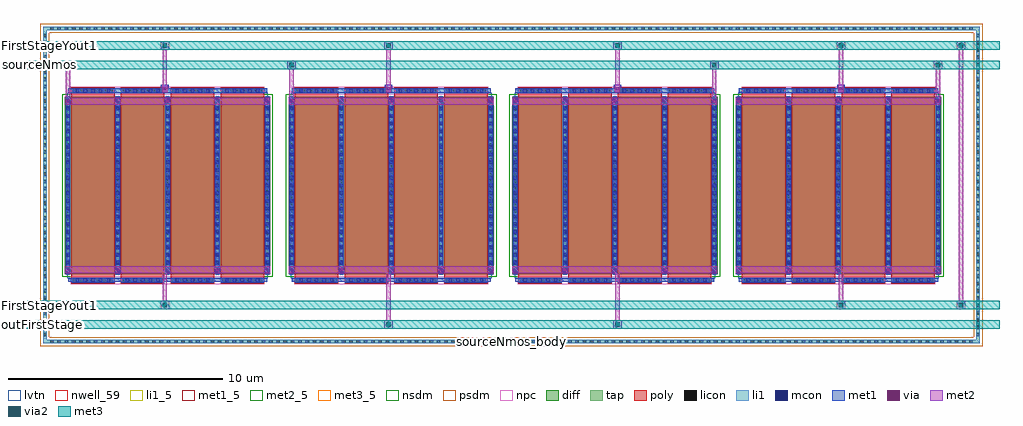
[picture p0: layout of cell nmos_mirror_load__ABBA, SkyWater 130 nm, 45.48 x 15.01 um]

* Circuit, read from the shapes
.subckt nmos_mirror_load__ABBA FirstStageYout1 outFirstStage sourceNmos sourceNmos_body
XM1 FirstStageYout1 FirstStageYout1 sourceNmos sourceNmos_body sky130_fd_pr__nfet_01v8_lvt w=8.27 l=2.03 m=8
XM2 outFirstStage FirstStageYout1 sourceNmos sourceNmos_body sky130_fd_pr__nfet_01v8_lvt w=8.27 l=2.03 m=8
.ends

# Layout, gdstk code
from math import pi, radians
import gdstk
lib = gdstk.Library(unit=1e-6, precision=1e-09)
def R(c, l, rs):  # rectangles x0, y0, x1, y1
    for r in rs: c.add(gdstk.rectangle(r[:2], r[2:], *l))
def A(c, l, x, y, w, h, nx, ny, dx, dy):  # array of equal rectangles
    R(c, l, [(x+i*dx, y+j*dy, x+i*dx+w, y+j*dy+h) for i in range(nx) for j in range(ny)])
nwell_59 = (64, 59)
diff = (65, 20)
tap = (65, 44)
poly = (66, 20)
licon = (66, 44)
li1_5 = (67, 5)
li1 = (67, 20)
mcon = (67, 44)
met1_5 = (68, 5)
met1 = (68, 20)
via = (68, 44)
met2_5 = (69, 5)
met2 = (69, 20)
via2 = (69, 44)
met3_5 = (70, 5)
met3 = (70, 20)
nsdm = (93, 44)
psdm = (94, 20)
npc = (95, 20)
lvtn = (125, 44)

sky130_fd_pr__nfet_01v8_ = lib.new_cell('sky130_fd_pr__nfet_01v8_lvt_A8LSYS')
R(sky130_fd_pr__nfet_01v8_, diff, [(-4.785,-4.135,4.785,4.135)])
A(sky130_fd_pr__nfet_01v8_, poly, -4.495, -4.575, 2.03, 9.15, 4, 1, 2.32, 0)
A(sky130_fd_pr__nfet_01v8_, licon, -4.415, -4.495, 0.17, 0.17, 6, 2, 0.34, 8.82)
A(sky130_fd_pr__nfet_01v8_, licon, -2.095, -4.495, 0.17, 0.17, 6, 2, 0.34, 8.82)
A(sky130_fd_pr__nfet_01v8_, licon, 0.225, -4.495, 0.17, 0.17, 6, 2, 0.34, 8.82)
A(sky130_fd_pr__nfet_01v8_, licon, 2.545, -4.495, 0.17, 0.17, 6, 2, 0.34, 8.82)
A(sky130_fd_pr__nfet_01v8_, licon, -4.725, -3.995, 0.17, 0.17, 5, 24, 2.32, 0.34)
A(sky130_fd_pr__nfet_01v8_, li1, -4.725, -4.155, 0.17, 8.31, 5, 1, 2.32, 0)
R(sky130_fd_pr__nfet_01v8_, li1, [(-4.64,-4.495,4.64,-4.325), (-4.64,4.325,4.64,4.495)])
A(sky130_fd_pr__nfet_01v8_, mcon, -4.285, -4.495, 0.17, 0.17, 5, 2, 0.36, 8.82)
A(sky130_fd_pr__nfet_01v8_, mcon, -1.965, -4.495, 0.17, 0.17, 5, 2, 0.36, 8.82)
A(sky130_fd_pr__nfet_01v8_, mcon, 0.355, -4.495, 0.17, 0.17, 5, 2, 0.36, 8.82)
A(sky130_fd_pr__nfet_01v8_, mcon, 2.675, -4.495, 0.17, 0.17, 5, 2, 0.36, 8.82)
A(sky130_fd_pr__nfet_01v8_, mcon, -4.725, -4.045, 0.17, 0.17, 5, 23, 2.32, 0.36)
A(sky130_fd_pr__nfet_01v8_, met1, -4.475, -4.525, 1.99, 0.03, 4, 2, 2.32, 0.2)
A(sky130_fd_pr__nfet_01v8_, met1, -4.755, -4.135, 0.23, 8.27, 5, 1, 2.32, 0)
A(sky130_fd_pr__nfet_01v8_, met1, -4.475, 4.295, 1.99, 0.03, 4, 2, 2.32, 0.2)
R(sky130_fd_pr__nfet_01v8_, met1, [(-4.64,-4.495,4.64,-4.325), (-4.64,4.325,4.64,4.495)])
R(sky130_fd_pr__nfet_01v8_, nsdm, [(-4.91,-4.26,4.91,4.26)])
R(sky130_fd_pr__nfet_01v8_, npc, [(-4.515,-4.595,4.515,-4.225), (-4.515,4.225,4.515,4.595)])
R(sky130_fd_pr__nfet_01v8_, lvtn, [(-4.675,-4.315,4.675,4.315)])
sky130_fd_pr__nfet_01v8_.add(gdstk.Label('D0', (-4.64,0), layer=67, texttype=5))
sky130_fd_pr__nfet_01v8_.add(gdstk.Label('G', (3.48,4.41), layer=67, texttype=5))
sky130_fd_pr__nfet_01v8_.add(gdstk.Label('G', (1.16,4.41), layer=67, texttype=5))
sky130_fd_pr__nfet_01v8_.add(gdstk.Label('G', (-1.16,4.41), layer=67, texttype=5))
sky130_fd_pr__nfet_01v8_.add(gdstk.Label('G', (-3.48,4.41), layer=67, texttype=5))
sky130_fd_pr__nfet_01v8_.add(gdstk.Label('S1', (-2.32,0), layer=67, texttype=5))
sky130_fd_pr__nfet_01v8_.add(gdstk.Label('D2', (0,0), layer=67, texttype=5))
sky130_fd_pr__nfet_01v8_.add(gdstk.Label('S3', (2.32,0), layer=67, texttype=5))

nfet_01v8_lvt_w33p065_l2 = lib.new_cell('nfet_01v8_lvt_W33p065_L2p03_m1__nf4_gboth_sdfull_outS_ng')
R(nfet_01v8_lvt_w33p065_l2, nwell_59, [(0.05,4.525,0.15,4.625)])
R(nfet_01v8_lvt_w33p065_l2, met1_5, [(0.145,8.87,9.425,9.1)])
A(nfet_01v8_lvt_w33p065_l2, met1, 0.015, 8.34, 0.26, 0.32, 3, 1, 4.64, 0)
R(nfet_01v8_lvt_w33p065_l2, met1, [(2.335,0.49,2.595,0.81), (6.975,0.49,7.235,0.81), (0.145,8.87,9.425,9.1)])
A(nfet_01v8_lvt_w33p065_l2, via, 0.07, 8.425, 0.15, 0.15, 3, 1, 4.64, 0)
R(nfet_01v8_lvt_w33p065_l2, via, [(2.39,0.575,2.54,0.725), (7.03,0.575,7.18,0.725)])
R(nfet_01v8_lvt_w33p065_l2, met2_5, [(0.01,0.49,9.56,0.81), (0.01,8.34,9.56,8.66)])
R(nfet_01v8_lvt_w33p065_l2, met2, [(0.01,0.49,9.56,0.81), (0.01,8.34,9.56,8.66)])
nfet_01v8_lvt_w33p065_l2.add(gdstk.Reference(sky130_fd_pr__nfet_01v8_, (4.785,4.575)))
nfet_01v8_lvt_w33p065_l2.add(gdstk.Label('S', (4.785,8.5), layer=69, texttype=5))
nfet_01v8_lvt_w33p065_l2.add(gdstk.Label('D', (4.785,0.65), layer=69, texttype=5))
nfet_01v8_lvt_w33p065_l2.add(gdstk.Label('G', (4.785,8.985), layer=68, texttype=5))
nfet_01v8_lvt_w33p065_l2.add(gdstk.Label('B', (0.1,4.575), layer=64, texttype=59))

nmos_mirror_load__abba = lib.new_cell('nmos_mirror_load__ABBA')
R(nmos_mirror_load__abba, tap, [(-0.885,-2.785,42.765,-2.615), (-0.885,-2.615,-0.715,11.805), (42.595,-2.615,42.765,11.805), (-0.885,11.805,42.765,11.975)])
A(nmos_mirror_load__abba, licon, -0.565, -2.785, 0.17, 0.17, 127, 2, 0.34, 14.59)
A(nmos_mirror_load__abba, licon, -0.885, -2.46, 0.17, 0.17, 1, 42, 0, 0.34)
A(nmos_mirror_load__abba, licon, 42.595, -2.46, 0.17, 0.17, 1, 42, 0, 0.34)
R(nmos_mirror_load__abba, li1_5, [(20.89,-2.75,20.99,-2.65)])
R(nmos_mirror_load__abba, li1, [(-0.885,-2.785,42.765,-2.615), (-0.885,-2.615,-0.715,11.805), (42.595,-2.615,42.765,11.805), (-0.885,11.805,42.765,11.975)])
R(nmos_mirror_load__abba, met1, [(4.605,8.9,4.965,9.26), (15.025,8.9,15.385,9.26), (25.695,8.9,26.055,9.26), (36.115,8.9,36.475,9.26)])
R(nmos_mirror_load__abba, via, [(4.71,9.005,4.86,9.155), (15.13,9.005,15.28,9.155), (25.8,9.005,25.95,9.155), (36.22,9.005,36.37,9.155)])
R(nmos_mirror_load__abba, met2, [(15.005,-2.1,15.405,-1.7), (25.675,-2.1,26.075,-1.7), (15.105,-1.7,15.305,0.59), (25.775,-1.7,25.975,0.59), (4.585,-1.2,4.985,-0.8), (36.095,-1.2,36.495,-0.8), (41.68,-1.2,42.08,-0.8), (4.685,-0.8,4.885,0.59), (36.195,-0.8,36.395,0.59), (41.78,-0.8,41.98,10.89), (0.17,8.56,0.37,9.99), (10.59,8.56,10.79,9.99), (30.29,8.56,30.49,9.99), (40.71,8.56,40.91,9.99), (4.655,8.92,4.915,9.24), (15.075,8.92,15.335,9.24), (25.745,8.92,26.005,9.24), (36.165,8.92,36.425,9.24), (4.685,9.24,4.885,10.89), (15.105,9.24,15.305,10.89), (25.775,9.24,25.975,10.89), (36.195,9.24,36.395,10.89), (0.07,9.99,0.47,10.39), (10.49,9.99,10.89,10.39), (30.19,9.99,30.59,10.39), (40.61,9.99,41.01,10.39), (4.585,10.89,4.985,11.29), (15.005,10.89,15.405,11.29), (25.675,10.89,26.075,11.29), (36.095,10.89,36.495,11.29), (41.68,10.89,42.08,11.29)])
R(nmos_mirror_load__abba, via2, [(15.105,-2,15.305,-1.8), (25.775,-2,25.975,-1.8), (4.685,-1.1,4.885,-0.9), (36.195,-1.1,36.395,-0.9), (41.78,-1.1,41.98,-0.9), (0.17,10.09,0.37,10.29), (10.59,10.09,10.79,10.29), (30.29,10.09,30.49,10.29), (40.71,10.09,40.91,10.29), (4.685,10.99,4.885,11.19), (15.105,10.99,15.305,11.19), (25.775,10.99,25.975,11.19), (36.195,10.99,36.395,11.19), (41.78,10.99,41.98,11.19)])
R(nmos_mirror_load__abba, met3_5, [(-1.7,-1.95,-1.6,-1.85), (-1.7,-1.05,-1.6,-0.95), (-1.7,10.14,-1.6,10.24), (-1.7,11.04,-1.6,11.14)])
R(nmos_mirror_load__abba, met3, [(-1.8,-2.1,43.68,-1.7), (-1.8,-1.2,43.68,-0.8), (-1.8,9.99,43.68,10.39), (-1.8,10.89,43.68,11.29)])
R(nmos_mirror_load__abba, psdm, [(-1.01,-2.91,42.89,-2.49), (-1.01,-2.49,-0.59,11.68), (42.47,-2.49,42.89,11.68), (-1.01,11.68,42.89,12.1)])
nmos_mirror_load__abba.add(gdstk.Reference(nfet_01v8_lvt_w33p065_l2, (40.96,0), rotation=pi, x_reflection=True))
nmos_mirror_load__abba.add(gdstk.Reference(nfet_01v8_lvt_w33p065_l2, (30.54,0), rotation=pi, x_reflection=True))
nmos_mirror_load__abba.add(gdstk.Reference(nfet_01v8_lvt_w33p065_l2, (10.55,0)))
nmos_mirror_load__abba.add(gdstk.Reference(nfet_01v8_lvt_w33p065_l2, (0.13,0)))
nmos_mirror_load__abba.add(gdstk.Label('sourceNmos', (-1.65,10.19), layer=70, texttype=5))
nmos_mirror_load__abba.add(gdstk.Label('FirstStageYout1', (-1.65,11.09), layer=70, texttype=5))
nmos_mirror_load__abba.add(gdstk.Label('FirstStageYout1', (-1.65,-1), layer=70, texttype=5))
nmos_mirror_load__abba.add(gdstk.Label('outFirstStage', (-1.65,-1.9), layer=70, texttype=5))
nmos_mirror_load__abba.add(gdstk.Label('sourceNmos_body', (20.94,-2.7), layer=67, texttype=5))

lib.write_gds('nmos_mirror_load__ABBA.gds')
